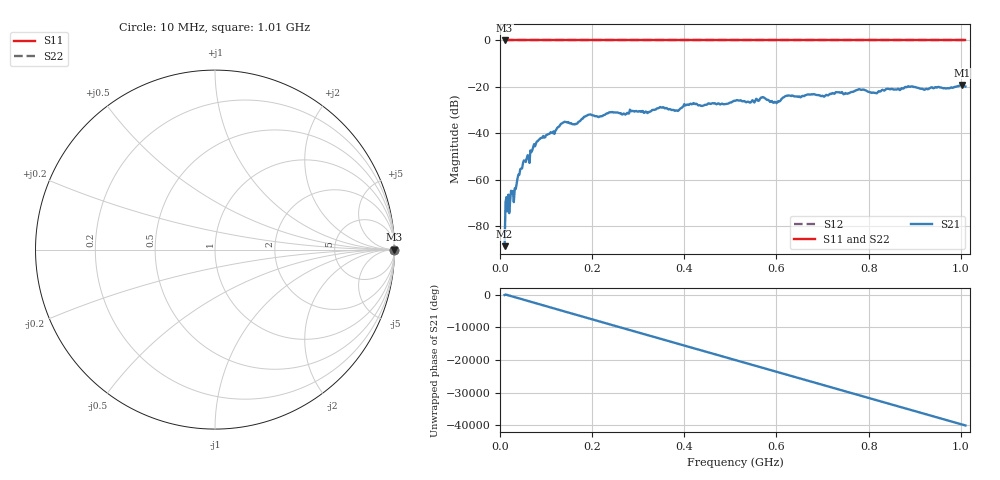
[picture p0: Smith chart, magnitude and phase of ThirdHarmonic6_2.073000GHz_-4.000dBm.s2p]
! 8/17/2025 12:49:36 AM
! C:\ANRITSUVNA\TEMP\TEMP.S2P
! CHANNEL.1
! TR.MEASUREMENT
! RAW.DATA
! RF.CORRECTION.OFF
! AVERAGING.OFF
! IF.BANDWIDTH: 5KHZ
! SWEEPTYPE:  FREQ.SWEEP(Linear)
! Reference Plane Port Info
! PORT:  PORT1  PORT2
! DISTANCE:  0  m  0  m
! TIME:  0  s  0  s
! PHASE.OFFSET:  0  deg.  0  deg.
! LOSS:  0  dB  0  dB
! REF.LOSS:  0  dB  0  dB
! REF.FREQ:  0  Hz  0  Hz
! Power Info
! POWER:  -20  dBm  -20  dBm
! EFF.POWER:  -20  dBm  -20  dBm
! SOURCE.ATTEN:  0  dB  0  dB
! TEST.ATTEN:  0  dB  0  dB
# GHZ S RI R 50.0
! FREQ.GHZ  S11RE  S11IM  S21RE  S21IM  S12RE  S12IM  S22RE  S22IM
!; PortSelection: Port_12
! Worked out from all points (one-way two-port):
!   501 points, 10 MHz to 1.01 GHz, reference 50 ohm
!   highest |S21| = -19.12 dB at 1.002 GHz (marker M1); lowest = -88.6 dB at 10 MHz (marker M2)
!   lowest |S11| = 0.0 dB at 10 MHz (marker M3)
!   |S11| at or under -10 dB: nowhere
!   |S22| runs from 0.0 to 0.0 dB; largest |S21 - S12| = 1.1
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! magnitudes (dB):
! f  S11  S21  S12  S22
! 10 MHz  0.0  -88.6  0.0  0.0
! 16 MHz  0.0  -73.6  0.0  0.0
! 34 MHz  0.0  -64.0  0.0  0.0
! 48 MHz  0.0  -55.1  0.0  0.0
! 78 MHz  0.0  -44.4  0.0  0.0
! 136 MHz  0.0  -35.5  0.0  0.0
! 164 MHz  0.0  -35.9  0.0  0.0
! 178 MHz  0.0  -33.7  0.0  0.0
! 194 MHz  0.0  -31.9  0.0  0.0
! 322 MHz  0.0  -31.0  0.0  0.0
! 344 MHz  0.0  -29.2  0.0  0.0
! 384 MHz  0.0  -30.2  0.0  0.0
! 416 MHz  0.0  -27.5  0.0  0.0
! 510 MHz  0.0  -26.0  0.0  0.0
! 542 MHz  0.0  -26.8  0.0  0.0
! 570 MHz  0.0  -24.4  0.0  0.0
! 598 MHz  0.0  -26.6  0.0  0.0
! 622 MHz  0.0  -23.8  0.0  0.0
! 678 MHz  0.0  -23.2  0.0  0.0
! 844 MHz  0.0  -20.9  0.0  0.0
! 1.002 GHz  0.0  -19.1  0.0  0.0
! 1.01 GHz  0.0  -19.8  0.0  0.0
